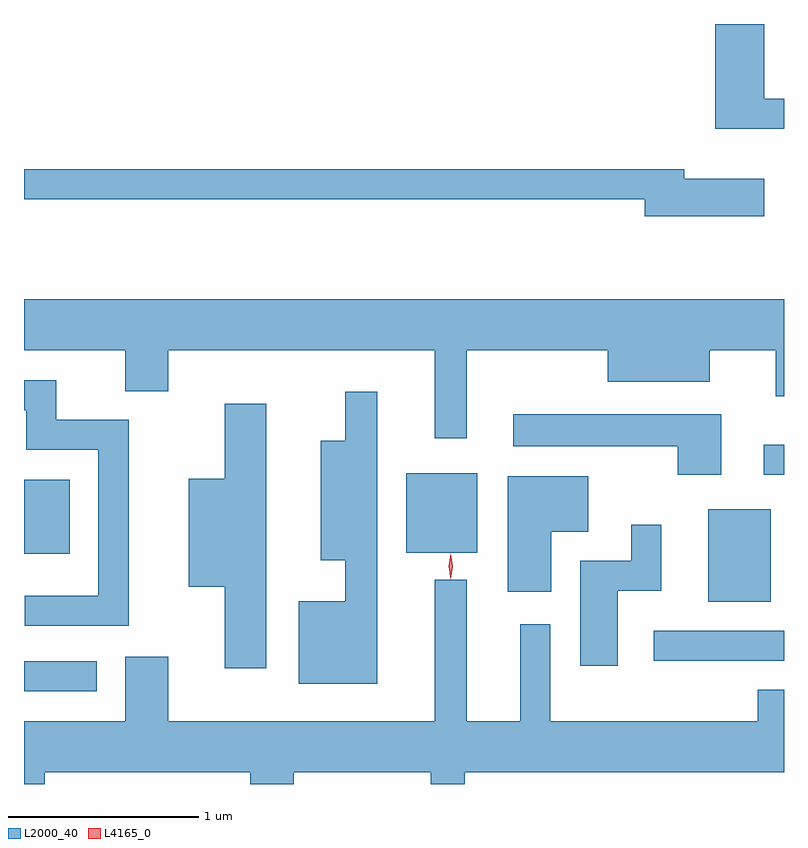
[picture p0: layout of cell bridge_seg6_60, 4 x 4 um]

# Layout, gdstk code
import gdstk
lib = gdstk.Library(unit=1e-6, precision=1e-09)
def R(c, l, rs):  # rectangles x0, y0, x1, y1
    for r in rs: c.add(gdstk.rectangle(r[:2], r[2:], *l))
def P(c, l, *ps):  # polygons
    for p in ps: c.add(gdstk.Polygon(p, *l))
L2000_40 = (2000, 40)
L4165_0 = (4165, 0)

bridge_seg6_60 = lib.new_cell('bridge_seg6_60')
R(bridge_seg6_60, L2000_40, [(1378.609,1643.701,1378.993,1643.859), (1381.923,1643.861,1382.609,1644.019), (1382.211,1644.171,1382.539,1644.659), (1378.609,1644.426,1378.849,1644.814), (1380.621,1644.431,1380.994,1644.849), (1382.503,1644.841,1382.609,1644.999)])
P(bridge_seg6_60, L2000_40, [(1382.609,1646.819),(1382.504,1646.819),(1382.504,1647.213),(1382.246,1647.213),(1382.246,1646.661),(1382.609,1646.661)],
  [(1382.504,1646.399),(1382.084,1646.399),(1382.084,1646.449),(1378.609,1646.449),(1378.609,1646.291),(1381.876,1646.291),(1381.876,1646.201),(1382.504,1646.201)],
  [(1380.939,1645.496),(1381.681,1645.496),(1381.681,1645.331),(1382.219,1645.331),(1382.219,1645.496),(1382.566,1645.496),(1382.566,1645.253),(1382.609,1645.253),(1382.609,1645.764),(1378.609,1645.764),(1378.609,1645.496),(1379.141,1645.496),(1379.141,1645.281),(1379.369,1645.281),(1379.369,1645.496),(1380.771,1645.496),(1380.771,1645.033),(1380.939,1645.033)],
  [(1379.159,1645.129),(1378.779,1645.129),(1378.779,1645.339),(1378.609,1645.339),(1378.609,1645.181),(1378.621,1645.181),(1378.621,1644.971),(1379.001,1644.971),(1379.001,1644.204),(1378.613,1644.204),(1378.613,1644.046),(1379.159,1644.046)],
  [(1380.469,1645.278),(1380.301,1645.278),(1380.301,1645.019),(1380.171,1645.019),(1380.171,1644.391),(1380.301,1644.391),(1380.301,1644.174),(1380.056,1644.174),(1380.056,1643.741),(1380.469,1643.741)],
  [(1379.884,1645.214),(1379.666,1645.214),(1379.666,1644.819),(1379.476,1644.819),(1379.476,1644.251),(1379.666,1644.251),(1379.666,1643.821),(1379.884,1643.821)],
  [(1382.279,1645.159),(1381.183,1645.159),(1381.183,1644.991),(1382.051,1644.991),(1382.051,1644.841),(1382.279,1644.841)],
  [(1381.384,1644.541),(1381.579,1644.541),(1381.579,1644.834),(1381.156,1644.834),(1381.156,1644.226),(1381.384,1644.226)],
  [(1381.734,1644.231),(1381.964,1644.231),(1381.964,1644.578),(1381.806,1644.578),(1381.806,1644.389),(1381.536,1644.389),(1381.536,1643.836),(1381.734,1643.836)],
  [(1378.719,1643.276),(1379.801,1643.276),(1379.801,1643.213),(1380.029,1643.213),(1380.029,1643.276),(1380.751,1643.276),(1380.751,1643.213),(1380.929,1643.213),(1380.929,1643.276),(1382.609,1643.276),(1382.609,1643.709),(1382.471,1643.709),(1382.471,1643.544),(1381.379,1643.544),(1381.379,1644.053),(1381.221,1644.053),(1381.221,1643.544),(1380.939,1643.544),(1380.939,1644.288),(1380.771,1644.288),(1380.771,1643.544),(1379.369,1643.544),(1379.369,1643.884),(1379.141,1643.884),(1379.141,1643.544),(1378.609,1643.544),(1378.609,1643.213),(1378.719,1643.213)])
P(bridge_seg6_60, L4165_0, [(1380.854,1644.29),(1380.845,1644.358),(1380.855,1644.426),(1380.856,1644.426),(1380.856,1644.426),(1380.865,1644.358),(1380.855,1644.29),(1380.855,1644.29)],
  [(1380.854,1644.293),(1380.845,1644.358),(1380.855,1644.421),(1380.856,1644.422),(1380.856,1644.421),(1380.865,1644.357),(1380.855,1644.293),(1380.855,1644.293)])

lib.write_gds('bridge_seg6_60.gds')
